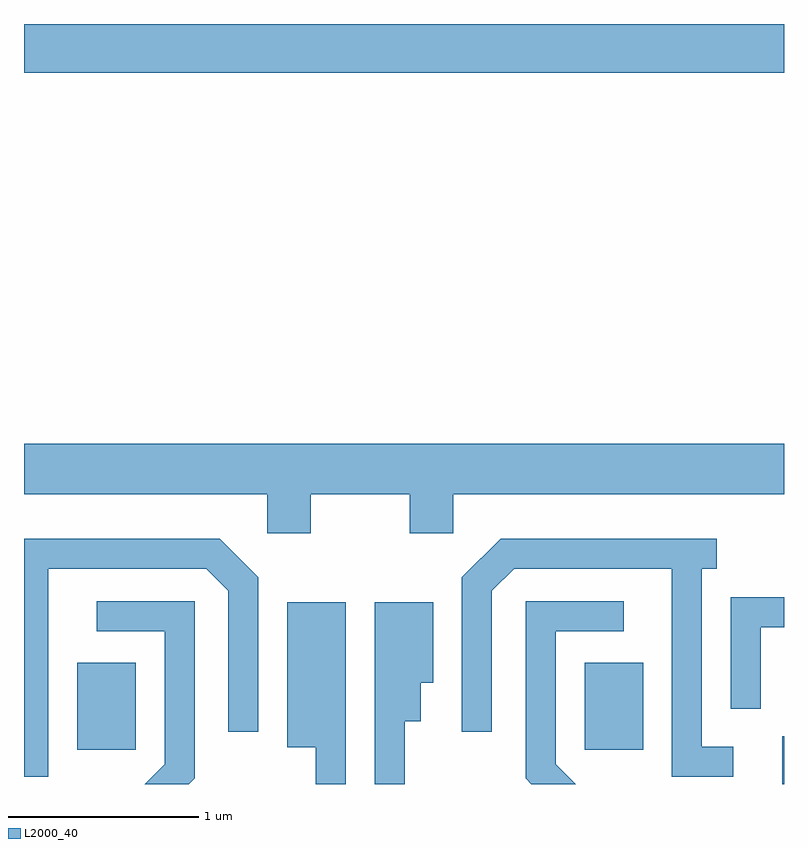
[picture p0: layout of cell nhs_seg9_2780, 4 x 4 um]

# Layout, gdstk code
import gdstk
lib = gdstk.Library(unit=1e-6, precision=1e-09)
def R(c, l, rs):  # rectangles x0, y0, x1, y1
    for r in rs: c.add(gdstk.rectangle(r[:2], r[2:], *l))
def P(c, l, *ps):  # polygons
    for p in ps: c.add(gdstk.Polygon(p, *l))
L2000_40 = (2000, 40)

nhs_seg9_2780 = lib.new_cell('nhs_seg9_2780')
R(nhs_seg9_2780, L2000_40, [(269.601,2072.432,269.611,2072.684), (265.891,2072.611,266.199,2073.069), (268.561,2072.611,268.869,2073.069), (265.611,2076.176,269.611,2076.432)])
P(nhs_seg9_2780, L2000_40, [(267.119,2073.956),(267.641,2073.956),(267.641,2073.751),(267.869,2073.751),(267.869,2073.956),(269.611,2073.956),(269.611,2074.224),(265.611,2074.224),(265.611,2073.956),(266.891,2073.956),(266.891,2073.751),(267.119,2073.751)],
  [(265.739,2073.566),(266.569,2073.566),(266.686,2073.449),(266.686,2072.708),(266.844,2072.708),(266.844,2073.521),(266.642,2073.724),(265.611,2073.724),(265.611,2072.471),(265.739,2072.471)],
  [(269.343,2072.629),(269.179,2072.629),(269.179,2073.566),(269.258,2073.566),(269.258,2073.724),(268.119,2073.724),(267.916,2073.521),(267.916,2072.708),(268.074,2072.708),(268.074,2073.449),(268.192,2073.566),(269.021,2073.566),(269.021,2072.471),(269.343,2072.471)],
  [(269.489,2073.256),(269.611,2073.256),(269.611,2073.414),(269.331,2073.414),(269.331,2072.827),(269.489,2072.827)],
  [(266.509,2072.463),(266.509,2073.394),(265.993,2073.394),(265.993,2073.236),(266.351,2073.236),(266.351,2072.537),(266.246,2072.432),(266.478,2072.432)],
  [(268.409,2072.537),(268.409,2073.236),(268.768,2073.236),(268.768,2073.394),(268.251,2073.394),(268.251,2072.463),(268.282,2072.432),(268.514,2072.432)],
  [(267.614,2072.761),(267.699,2072.761),(267.699,2072.966),(267.764,2072.966),(267.764,2073.389),(267.456,2073.389),(267.456,2072.432),(267.614,2072.432)],
  [(267.304,2073.389),(266.996,2073.389),(266.996,2072.626),(267.146,2072.626),(267.146,2072.432),(267.304,2072.432)])

lib.write_gds('nhs_seg9_2780.gds')
